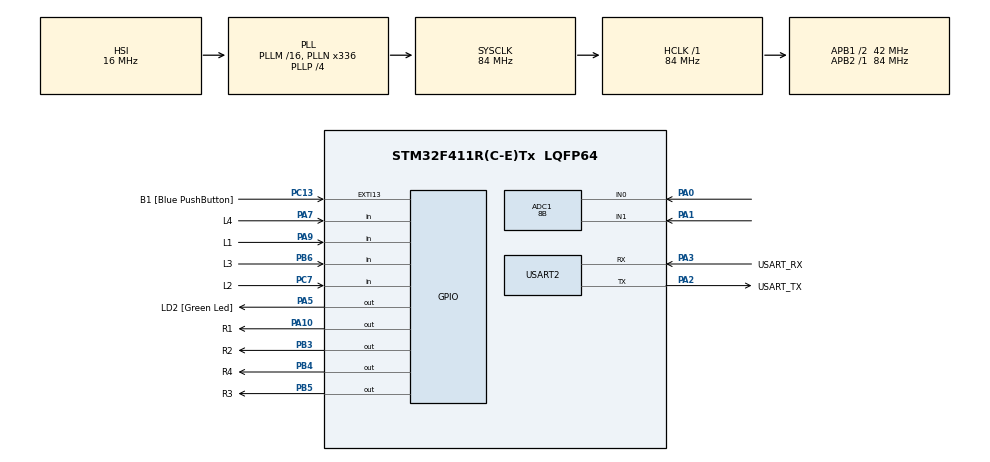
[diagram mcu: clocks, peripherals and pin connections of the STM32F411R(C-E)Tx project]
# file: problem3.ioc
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ADC1.Channel-0\#ChannelRegularConversion=ADC_CHANNEL_0
ADC1.Channel-1\#ChannelRegularConversion=ADC_CHANNEL_1
ADC1.Channel-2\#ChannelRegularConversion=ADC_CHANNEL_TEMPSENSOR
ADC1.ContinuousConvMode=ENABLE
ADC1.DMAContinuousRequests=ENABLE
ADC1.EOCSelection=ADC_EOC_SEQ_CONV
ADC1.NbrOfConversion=3
ADC1.NbrOfConversionFlag=1
ADC1.Rank-0\#ChannelRegularConversion=1
ADC1.Rank-1\#ChannelRegularConversion=2
ADC1.Rank-2\#ChannelRegularConversion=3
ADC1.Resolution=ADC_RESOLUTION_8B
ADC1.SamplingTime-0\#ChannelRegularConversion=ADC_SAMPLETIME_84CYCLES
ADC1.SamplingTime-1\#ChannelRegularConversion=ADC_SAMPLETIME_84CYCLES
ADC1.SamplingTime-2\#ChannelRegularConversion=ADC_SAMPLETIME_3CYCLES
ADC1.ScanConvMode=ENABLE
ADC1.master=1
Dma.ADC1.0.Direction=DMA_PERIPH_TO_MEMORY
Dma.ADC1.0.FIFOMode=DMA_FIFOMODE_DISABLE
Dma.ADC1.0.Instance=DMA2_Stream0
Dma.ADC1.0.MemDataAlignment=DMA_MDATAALIGN_HALFWORD
Dma.ADC1.0.MemInc=DMA_MINC_ENABLE
Dma.ADC1.0.Mode=DMA_CIRCULAR
Dma.ADC1.0.PeriphDataAlignment=DMA_PDATAALIGN_HALFWORD
Dma.ADC1.0.PeriphInc=DMA_PINC_DISABLE
Dma.ADC1.0.Priority=DMA_PRIORITY_LOW
Dma.Request0=ADC1
Mcu.Family=STM32F4
Mcu.Name=STM32F411R(C-E)Tx
Mcu.Package=LQFP64
NVIC.DMA2_Stream0_IRQn=true\:0\:0\:false\:false\:true\:false\:true\:true
NVIC.EXTI15_10_IRQn=true\:0\:0\:false\:false\:true\:true\:true\:true
NVIC.PriorityGroup=NVIC_PRIORITYGROUP_0
PA0-WKUP.Signal=ADCx_IN0
PA1.Signal=ADCx_IN1
PA10.GPIO_Label=R1
PA10.GPIO_ModeDefaultOutputPP=GPIO_MODE_OUTPUT_OD
PA10.GPIO_PuPd=GPIO_NOPULL
PA10.PinState=GPIO_PIN_SET
PA10.Signal=GPIO_Output
PA13.GPIO_Label=TMS
PA13.Mode=Serial_Wire
PA13.Signal=SYS_JTMS-SWDIO
PA14.GPIO_Label=TCK
PA14.Mode=Serial_Wire
PA14.Signal=SYS_JTCK-SWCLK
PA2.GPIO_Label=USART_TX
PA2.Mode=Asynchronous
PA2.Signal=USART2_TX
PA3.GPIO_Label=USART_RX
PA3.Mode=Asynchronous
PA3.Signal=USART2_RX
PA5.GPIO_Label=LD2 [Green Led]
PA5.Signal=GPIO_Output
PA7.GPIO_Label=L4
PA7.GPIO_PuPd=GPIO_PULLUP
PA7.Signal=GPIO_Input
PA9.GPIO_Label=L1
PA9.GPIO_PuPd=GPIO_PULLUP
PA9.Signal=GPIO_Input
PB3.GPIO_Label=R2
PB3.GPIO_ModeDefaultOutputPP=GPIO_MODE_OUTPUT_OD
PB3.GPIO_PuPd=GPIO_NOPULL
PB3.PinState=GPIO_PIN_SET
PB3.Signal=GPIO_Output
PB4.GPIO_Label=R4
PB4.GPIO_ModeDefaultOutputPP=GPIO_MODE_OUTPUT_OD
PB4.GPIO_PuPd=GPIO_NOPULL
PB4.GPIO_Speed=GPIO_SPEED_FREQ_LOW
PB4.PinState=GPIO_PIN_SET
PB4.Signal=GPIO_Output
PB5.GPIO_Label=R3
PB5.GPIO_ModeDefaultOutputPP=GPIO_MODE_OUTPUT_OD
PB5.GPIO_PuPd=GPIO_NOPULL
PB5.PinState=GPIO_PIN_SET
PB5.Signal=GPIO_Output
PB6.GPIO_Label=L3
PB6.GPIO_PuPd=GPIO_PULLUP
PB6.Signal=GPIO_Input
PC13-ANTI_TAMP.GPIO_Label=B1 [Blue PushButton]
PC13-ANTI_TAMP.GPIO_ModeDefaultEXTI=GPIO_MODE_IT_FALLING
PC13-ANTI_TAMP.Signal=GPXTI13
PC14-OSC32_IN.Mode=LSE-External-Oscillator
PC14-OSC32_IN.Signal=RCC_OSC32_IN
PC15-OSC32_OUT.Mode=LSE-External-Oscillator
PC15-OSC32_OUT.Signal=RCC_OSC32_OUT
PC7.GPIO_Label=L2
PC7.GPIO_PuPd=GPIO_PULLUP
PC7.Signal=GPIO_Input
PH0\ -\ OSC_IN.Mode=HSE-External-Clock-Source
PH0\ -\ OSC_IN.Signal=RCC_OSC_IN
PH1\ -\ OSC_OUT.Mode=HSE-External-Clock-Source
PH1\ -\ OSC_OUT.Signal=RCC_OSC_OUT
ProjectManager.HeapSize=0x200
ProjectManager.StackSize=0x400
ProjectManager.TargetToolchain=STM32CubeIDE
RCC.48MHZClocksFreq_Value=84000000
RCC.AHBFreq_Value=84000000
RCC.APB1CLKDivider=RCC_HCLK_DIV2
RCC.APB1Freq_Value=42000000
RCC.APB1TimFreq_Value=84000000
RCC.APB2Freq_Value=84000000
RCC.APB2TimFreq_Value=84000000
RCC.CortexFreq_Value=84000000
RCC.FLatency-AdvancedSettings=FLASH_LATENCY_2
RCC.HCLKFreq_Value=84000000
RCC.HSE_VALUE=8000000
RCC.HSI_VALUE=16000000
RCC.PLLN=336
RCC.PLLP=RCC_PLLP_DIV4
RCC.SYSCLKFreq_VALUE=84000000
RCC.SYSCLKSource=RCC_SYSCLKSOURCE_PLLCLK
RCC.VCOOutputFreq_Value=336000000
SH.ADCx_IN0.0=ADC1_IN0,IN0
SH.ADCx_IN1.0=ADC1_IN1,IN1
USART2.VirtualMode=VM_ASYNC
VP_ADC1_TempSens_Input.Mode=IN-TempSens
board=NUCLEO-F411RE

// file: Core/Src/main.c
/* USER CODE BEGIN Header */
/**
  ******************************************************************************
  * @file           : main.c
  * @brief          : Main program body
  ******************************************************************************
  * @attention
  *
  * Copyright (c) 2023 STMicroelectronics.
  * All rights reserved.
  *
  * This software is licensed under terms that can be found in the LICENSE file
  * in the root directory of this software component.
  * If no LICENSE file comes with this software, it is provided AS-IS.
  *
  ******************************************************************************
  */
/* USER CODE END Header */
#include "main.h"

ADC_HandleTypeDef hadc1;
DMA_HandleTypeDef hdma_adc1;

UART_HandleTypeDef huart2;

/* USER CODE BEGIN PV */
typedef struct {
	uint16_t IN0;
	uint16_t IN1;// Rank 1
	uint16_t Temp;//rank2

}ADCDMABuffer;

ADCDMABuffer adcdmabuffer[10];
//declare port r,l
typedef struct _PortPin
{
	GPIO_TypeDef* PORT;
	uint16_t PIN;
} PortPin;
PortPin R[4] =
{
		{GPIOA,GPIO_PIN_10},
		{GPIOB,GPIO_PIN_3},
		{GPIOB,GPIO_PIN_5},
		{GPIOB,GPIO_PIN_4}
};

PortPin L[4] =
{
		{GPIOA,GPIO_PIN_9},
		{GPIOC,GPIO_PIN_7},
		{GPIOB,GPIO_PIN_6},
		{GPIOA,GPIO_PIN_7}
};
//hallo 1234 sdasgwv
//For Button Contenter
uint16_t ButtonMatrix=0;
uint16_t sum = 0;
uint32_t LastButton = 0;

uint16_t voltb = 0; // bit
uint16_t volt = 0; // mV
uint16_t tempb = 0 ; // bit
uint16_t temp = 0 ;  // K
uint16_t voltb2 = 0; // bit
uint16_t volt2 = 0; // bit

/* USER CODE END PV */

void SystemClock_Config(void);
static void MX_GPIO_Init(void);
static void MX_DMA_Init(void);
static void MX_USART2_UART_Init(void);
static void MX_ADC1_Init(void);

int main(void)
{

  /* MCU Configuration--------------------------------------------------------*/

  /* Reset of all peripherals, Initializes the Flash interface and the Systick. */
  HAL_Init();

  /* Configure the system clock */
  SystemClock_Config();

  /* Initialize all configured peripherals */
  MX_GPIO_Init();
  MX_DMA_Init();
  MX_USART2_UART_Init();
  MX_ADC1_Init();
  /* USER CODE BEGIN 2 */
  HAL_ADC_Start_DMA(&hadc1, (uint32_t*) adcdmabuffer, 20);
  /* USER CODE END 2 */

  /* Infinite loop */
  while (1)
  {

    /* USER CODE BEGIN 3 */
	  //Call function every 1000 ms = 1 s =  1 Hz
		static uint32_t timestamp = 0;
		static uint32_t sub = 0;
		if (HAL_GetTick() >= timestamp)
		{
			timestamp = HAL_GetTick() + 1000;
			func();
		}
		else if (HAL_GetTick() >= sub)
		{
			sub = HAL_GetTick() + 10;
			ReadMatrixButton_1Row();
			btm();
		}
  }
  /* USER CODE END 3 */
}

void SystemClock_Config(void)
{
  RCC_OscInitTypeDef RCC_OscInitStruct = {0};
  RCC_ClkInitTypeDef RCC_ClkInitStruct = {0};

  /** Configure the main internal regulator output voltage
  */
  __HAL_RCC_PWR_CLK_ENABLE();
  __HAL_PWR_VOLTAGESCALING_CONFIG(PWR_REGULATOR_VOLTAGE_SCALE1);

  /** Initializes the RCC Oscillators according to the specified parameters
  * in the RCC_OscInitTypeDef structure.
  */
  RCC_OscInitStruct.OscillatorType = RCC_OSCILLATORTYPE_HSI;
  RCC_OscInitStruct.HSIState = RCC_HSI_ON;
  RCC_OscInitStruct.HSICalibrationValue = RCC_HSICALIBRATION_DEFAULT;
  RCC_OscInitStruct.PLL.PLLState = RCC_PLL_ON;
  RCC_OscInitStruct.PLL.PLLSource = RCC_PLLSOURCE_HSI;
  RCC_OscInitStruct.PLL.PLLM = 16;
  RCC_OscInitStruct.PLL.PLLN = 336;
  RCC_OscInitStruct.PLL.PLLP = RCC_PLLP_DIV4;
  RCC_OscInitStruct.PLL.PLLQ = 4;
  if (HAL_RCC_OscConfig(&RCC_OscInitStruct) != HAL_OK)
  {
    Error_Handler();
  }

  /** Initializes the CPU, AHB and APB buses clocks
  */
  RCC_ClkInitStruct.ClockType = RCC_CLOCKTYPE_HCLK|RCC_CLOCKTYPE_SYSCLK
                              |RCC_CLOCKTYPE_PCLK1|RCC_CLOCKTYPE_PCLK2;
  RCC_ClkInitStruct.SYSCLKSource = RCC_SYSCLKSOURCE_PLLCLK;
  RCC_ClkInitStruct.AHBCLKDivider = RCC_SYSCLK_DIV1;
  RCC_ClkInitStruct.APB1CLKDivider = RCC_HCLK_DIV2;
  RCC_ClkInitStruct.APB2CLKDivider = RCC_HCLK_DIV1;

  if (HAL_RCC_ClockConfig(&RCC_ClkInitStruct, FLASH_LATENCY_2) != HAL_OK)
  {
    Error_Handler();
  }
}

static void MX_ADC1_Init(void)
{

  ADC_ChannelConfTypeDef sConfig = {0};

  /** Configure the global features of the ADC (Clock, Resolution, Data Alignment and number of conversion)
  */
  hadc1.Instance = ADC1;
  hadc1.Init.ClockPrescaler = ADC_CLOCK_SYNC_PCLK_DIV4;
  hadc1.Init.Resolution = ADC_RESOLUTION_8B;
  hadc1.Init.ScanConvMode = ENABLE;
  hadc1.Init.ContinuousConvMode = ENABLE;
  hadc1.Init.DiscontinuousConvMode = DISABLE;
  hadc1.Init.ExternalTrigConvEdge = ADC_EXTERNALTRIGCONVEDGE_NONE;
  hadc1.Init.ExternalTrigConv = ADC_SOFTWARE_START;
  hadc1.Init.DataAlign = ADC_DATAALIGN_RIGHT;
  hadc1.Init.NbrOfConversion = 3;
  hadc1.Init.DMAContinuousRequests = ENABLE;
  hadc1.Init.EOCSelection = ADC_EOC_SEQ_CONV;
  if (HAL_ADC_Init(&hadc1) != HAL_OK)
  {
    Error_Handler();
  }

  /** Configure for the selected ADC regular channel its corresponding rank in the sequencer and its sample time.
  */
  sConfig.Channel = ADC_CHANNEL_0;
  sConfig.Rank = 1;
  sConfig.SamplingTime = ADC_SAMPLETIME_84CYCLES;
  if (HAL_ADC_ConfigChannel(&hadc1, &sConfig) != HAL_OK)
  {
    Error_Handler();
  }

  /** Configure for the selected ADC regular channel its corresponding rank in the sequencer and its sample time.
  */
  sConfig.Channel = ADC_CHANNEL_1;
  sConfig.Rank = 2;
  if (HAL_ADC_ConfigChannel(&hadc1, &sConfig) != HAL_OK)
  {
    Error_Handler();
  }

  /** Configure for the selected ADC regular channel its corresponding rank in the sequencer and its sample time.
  */
  sConfig.Channel = ADC_CHANNEL_TEMPSENSOR;
  sConfig.Rank = 3;
  sConfig.SamplingTime = ADC_SAMPLETIME_3CYCLES;
  if (HAL_ADC_ConfigChannel(&hadc1, &sConfig) != HAL_OK)
  {
    Error_Handler();
  }

}

static void MX_USART2_UART_Init(void)
{

  huart2.Instance = USART2;
  huart2.Init.BaudRate = 115200;
  huart2.Init.WordLength = UART_WORDLENGTH_8B;
  huart2.Init.StopBits = UART_STOPBITS_1;
  huart2.Init.Parity = UART_PARITY_NONE;
  huart2.Init.Mode = UART_MODE_TX_RX;
  huart2.Init.HwFlowCtl = UART_HWCONTROL_NONE;
  huart2.Init.OverSampling = UART_OVERSAMPLING_16;
  if (HAL_UART_Init(&huart2) != HAL_OK)
  {
    Error_Handler();
  }

}

static void MX_DMA_Init(void)
{

  /* DMA controller clock enable */
  __HAL_RCC_DMA2_CLK_ENABLE();

  /* DMA interrupt init */
  /* DMA2_Stream0_IRQn interrupt configuration */
  HAL_NVIC_SetPriority(DMA2_Stream0_IRQn, 0, 0);
  HAL_NVIC_EnableIRQ(DMA2_Stream0_IRQn);

}

static void MX_GPIO_Init(void)
{
  GPIO_InitTypeDef GPIO_InitStruct = {0};

  /* GPIO Ports Clock Enable */
  __HAL_RCC_GPIOC_CLK_ENABLE();
  __HAL_RCC_GPIOH_CLK_ENABLE();
  __HAL_RCC_GPIOA_CLK_ENABLE();
  __HAL_RCC_GPIOB_CLK_ENABLE();

  /*Configure GPIO pin Output Level */
  HAL_GPIO_WritePin(LD2_GPIO_Port, LD2_Pin, GPIO_PIN_RESET);

  /*Configure GPIO pin Output Level */
  HAL_GPIO_WritePin(R1_GPIO_Port, R1_Pin, GPIO_PIN_SET);

  /*Configure GPIO pin Output Level */
  HAL_GPIO_WritePin(GPIOB, R2_Pin|R4_Pin|R3_Pin, GPIO_PIN_SET);

  /*Configure GPIO pin : B1_Pin */
  GPIO_InitStruct.Pin = B1_Pin;
  GPIO_InitStruct.Mode = GPIO_MODE_IT_FALLING;
  GPIO_InitStruct.Pull = GPIO_NOPULL;
  HAL_GPIO_Init(B1_GPIO_Port, &GPIO_InitStruct);

  /*Configure GPIO pin : LD2_Pin */
  GPIO_InitStruct.Pin = LD2_Pin;
  GPIO_InitStruct.Mode = GPIO_MODE_OUTPUT_PP;
  GPIO_InitStruct.Pull = GPIO_NOPULL;
  GPIO_InitStruct.Speed = GPIO_SPEED_FREQ_LOW;
  HAL_GPIO_Init(LD2_GPIO_Port, &GPIO_InitStruct);

  /*Configure GPIO pins : L4_Pin L1_Pin */
  GPIO_InitStruct.Pin = L4_Pin|L1_Pin;
  GPIO_InitStruct.Mode = GPIO_MODE_INPUT;
  GPIO_InitStruct.Pull = GPIO_PULLUP;
  HAL_GPIO_Init(GPIOA, &GPIO_InitStruct);

  /*Configure GPIO pin : L2_Pin */
  GPIO_InitStruct.Pin = L2_Pin;
  GPIO_InitStruct.Mode = GPIO_MODE_INPUT;
  GPIO_InitStruct.Pull = GPIO_PULLUP;
  HAL_GPIO_Init(L2_GPIO_Port, &GPIO_InitStruct);

  /*Configure GPIO pin : R1_Pin */
  GPIO_InitStruct.Pin = R1_Pin;
  GPIO_InitStruct.Mode = GPIO_MODE_OUTPUT_OD;
  GPIO_InitStruct.Pull = GPIO_NOPULL;
  GPIO_InitStruct.Speed = GPIO_SPEED_FREQ_LOW;
  HAL_GPIO_Init(R1_GPIO_Port, &GPIO_InitStruct);

  /*Configure GPIO pins : R2_Pin R4_Pin R3_Pin */
  GPIO_InitStruct.Pin = R2_Pin|R4_Pin|R3_Pin;
  GPIO_InitStruct.Mode = GPIO_MODE_OUTPUT_OD;
  GPIO_InitStruct.Pull = GPIO_NOPULL;
  GPIO_InitStruct.Speed = GPIO_SPEED_FREQ_LOW;
  HAL_GPIO_Init(GPIOB, &GPIO_InitStruct);

  /*Configure GPIO pin : L3_Pin */
  GPIO_InitStruct.Pin = L3_Pin;
  GPIO_InitStruct.Mode = GPIO_MODE_INPUT;
  GPIO_InitStruct.Pull = GPIO_PULLUP;
  HAL_GPIO_Init(L3_GPIO_Port, &GPIO_InitStruct);

  /* EXTI interrupt init*/
  HAL_NVIC_SetPriority(EXTI15_10_IRQn, 0, 0);
  HAL_NVIC_EnableIRQ(EXTI15_10_IRQn);

}

/* USER CODE BEGIN 4 */
void func(){
voltb = 0 ;  //set start
tempb = 0 ; //set start

for (int i = 0; i < 100; i++)
	{
		voltb += adcdmabuffer[i].IN0 ;
		voltb2 += adcdmabuffer[i].IN1 ;
		tempb += adcdmabuffer[i].Temp ;

		if (i == 99)
		{
			voltb = voltb / 100 ; // find Avg Vin
			voltb2 = voltb2 / 100 ; // find Avg Vin
			tempb= tempb / 100 ; // find Avg Temp
		}
	}
		volt = (( voltb * 3.3 * 1000) / 256 )* 2;
		volt2 = (( voltb2 * 3.3 * 1000) / 256)* 2;//find Vin * 2 because voltage div
		temp =  (((((tempb * 3.3)/ 256)*1000)- 760)/ 2.5) + 25;
}
void ReadMatrixButton_1Row()
{
	//
	static uint8_t X = 0;

	//READ L1-L4
	register int i;
	for(i=0;i<4;i++)
	{
		if(HAL_GPIO_ReadPin(L[i].PORT, L[i].PIN))
		{
			ButtonMatrix &= ~(1<<(X*4+i));

		}
		else
		{
			ButtonMatrix |= 1<<(X*4+i);

		}

	}
	//SET RX
	HAL_GPIO_WritePin(R[X].PORT, R[X].PIN, 1);
	//RESET RX+1%4
	HAL_GPIO_WritePin(R[(X+1)%4].PORT, R[(X+1)%4].PIN, 0);
	X++;
	X%=4;
}
void btm(){
	if (LastButton == 0 && ButtonMatrix > 0)
		  					{
		  						if (ButtonMatrix == 4) // 1
		  						{
		  							sum = voltb * voltb2;

		  						}

		  						else if (ButtonMatrix == 64) // 2
		  						{
		  							sum = voltb * tempb;

		  						}

		  						else if (ButtonMatrix == 1024) // 3
		  						{
		  							sum = voltb2 * tempb;

		  						}

		  						else if (ButtonMatrix == 2) // 4
		  						{
		  							 sum = voltb - voltb2;

		  						}

		  						else if (ButtonMatrix == 32) // 5
		  						{
		  							sum = voltb - tempb;

		  						}

		  						else if (ButtonMatrix == 512) // 6
		  						{

		  							sum = voltb2 - tempb;

		  						}

		  						else if (ButtonMatrix == 1) // 7
		  						{
		  							sum = voltb + voltb2;
		  						}

		  						else if (ButtonMatrix == 16 ) // 8
		  						{
		  							sum = voltb + tempb;

		  						}

		  						else if (ButtonMatrix == 256) // 9
		  						{
		  							sum = voltb2 + tempb;

		  						}

		  					}

		  					LastButton = ButtonMatrix;

		  	  }

/* USER CODE END 4 */

void Error_Handler(void)
{
  __disable_irq();
  while (1)
  {
  }
}
